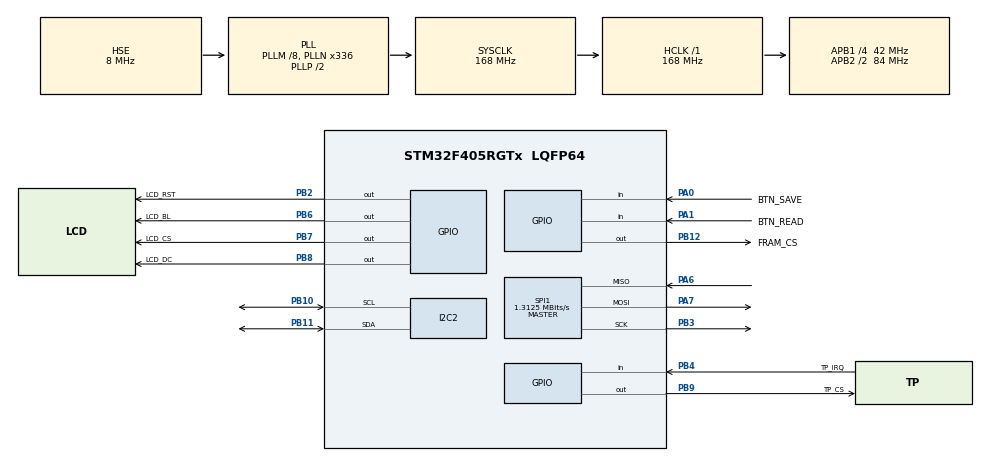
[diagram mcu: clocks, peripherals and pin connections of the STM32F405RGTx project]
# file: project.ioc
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ADC1.Channel-0\#ChannelRegularConversion=ADC_CHANNEL_TEMPSENSOR
ADC1.Channel-1\#ChannelRegularConversion=ADC_CHANNEL_VREFINT
ADC1.ContinuousConvMode=ENABLE
ADC1.NbrOfConversion=2
ADC1.NbrOfConversionFlag=1
ADC1.Rank-0\#ChannelRegularConversion=1
ADC1.Rank-1\#ChannelRegularConversion=2
ADC1.SamplingTime-0\#ChannelRegularConversion=ADC_SAMPLETIME_480CYCLES
ADC1.SamplingTime-1\#ChannelRegularConversion=ADC_SAMPLETIME_480CYCLES
ADC1.master=1
FREERTOS.Mutexes01=LcdMutex,Dynamic,NULL,Available
FREERTOS.Tasks01=defaultTask,0,1024,StartDefaultTask,Default,NULL,Dynamic,NULL,NULL;TouchTask,1,1024,StartTouchTask,Default,NULL,Dynamic,NULL,NULL
Mcu.Family=STM32F4
Mcu.Name=STM32F405RGTx
Mcu.Package=LQFP64
NVIC.PriorityGroup=NVIC_PRIORITYGROUP_4
PA0-WKUP.GPIO_Label=BTN_SAVE
PA0-WKUP.GPIO_PuPd=GPIO_PULLDOWN
PA0-WKUP.Signal=GPIO_Input
PA1.GPIO_Label=BTN_READ
PA1.GPIO_PuPd=GPIO_PULLDOWN
PA1.Signal=GPIO_Input
PA13.Mode=Serial_Wire
PA13.Signal=SYS_JTMS-SWDIO
PA14.Mode=Serial_Wire
PA14.Signal=SYS_JTCK-SWCLK
PA6.Mode=Full_Duplex_Master
PA6.Signal=SPI1_MISO
PA7.Mode=Full_Duplex_Master
PA7.Signal=SPI1_MOSI
PB10.Mode=I2C
PB10.Signal=I2C2_SCL
PB11.Mode=I2C
PB11.Signal=I2C2_SDA
PB12.GPIO_Label=FRAM_CS
PB12.Signal=GPIO_Output
PB2.GPIO_Label=LCD_RST
PB2.GPIO_Speed=GPIO_SPEED_FREQ_VERY_HIGH
PB2.Signal=GPIO_Output
PB3.Mode=Full_Duplex_Master
PB3.Signal=SPI1_SCK
PB4.GPIO_Label=TP_IRQ
PB4.GPIO_PuPd=GPIO_PULLUP
PB4.Signal=GPIO_Input
PB6.GPIO_Label=LCD_BL
PB6.GPIO_Speed=GPIO_SPEED_FREQ_VERY_HIGH
PB6.Signal=GPIO_Output
PB7.GPIO_Label=LCD_CS
PB7.GPIO_Speed=GPIO_SPEED_FREQ_VERY_HIGH
PB7.Signal=GPIO_Output
PB8.GPIO_Label=LCD_DC
PB8.GPIO_Speed=GPIO_SPEED_FREQ_VERY_HIGH
PB8.Signal=GPIO_Output
PB9.GPIO_Label=TP_CS
PB9.GPIO_Speed=GPIO_SPEED_FREQ_VERY_HIGH
PB9.Signal=GPIO_Output
PH0-OSC_IN.Mode=HSE-External-Oscillator
PH0-OSC_IN.Signal=RCC_OSC_IN
PH1-OSC_OUT.Mode=HSE-External-Oscillator
PH1-OSC_OUT.Signal=RCC_OSC_OUT
ProjectManager.HeapSize=0x200
ProjectManager.StackSize=0x400
ProjectManager.TargetToolchain=STM32CubeIDE
RCC.48MHZClocksFreq_Value=84000000
RCC.AHBFreq_Value=168000000
RCC.APB1CLKDivider=RCC_HCLK_DIV4
RCC.APB1Freq_Value=42000000
RCC.APB1TimFreq_Value=84000000
RCC.APB2CLKDivider=RCC_HCLK_DIV2
RCC.APB2Freq_Value=84000000
RCC.APB2TimFreq_Value=168000000
RCC.CortexFreq_Value=168000000
RCC.HCLKFreq_Value=168000000
RCC.HSE_VALUE=8000000
RCC.HSI_VALUE=16000000
RCC.LSE_VALUE=32768
RCC.PLLM=8
RCC.PLLN=336
RCC.PLLSourceVirtual=RCC_PLLSOURCE_HSE
RCC.SYSCLKFreq_VALUE=168000000
RCC.SYSCLKSource=RCC_SYSCLKSOURCE_PLLCLK
RCC.VCOOutputFreq_Value=336000000
RTC.Format=RTC_FORMAT_BIN
SPI1.BaudRatePrescaler=SPI_BAUDRATEPRESCALER_64
SPI1.CalculateBaudRate=1.3125 MBits/s
SPI1.Direction=SPI_DIRECTION_2LINES
SPI1.Mode=SPI_MODE_MASTER
SPI1.VirtualType=VM_MASTER
VP_ADC1_TempSens_Input.Mode=IN-TempSens
VP_ADC1_Vref_Input.Mode=IN-Vrefint
VP_FREERTOS_VS_CMSIS_V1.Mode=CMSIS_V1
VP_RTC_VS_RTC_Activate.Mode=RTC_Enabled
VP_RTC_VS_RTC_Calendar.Mode=RTC_Calendar
board=custom

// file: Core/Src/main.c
/* USER CODE BEGIN Header */
/**
  ******************************************************************************
  * @file           : main.c
  * @brief          : BẢN CODE CHỐNG BỊ CUBEMX XÓA - FULL CHỨC NĂNG
  ******************************************************************************
  */
/* USER CODE END Header */
#include "main.h"
#include "cmsis_os.h"

/* USER CODE BEGIN Includes */
#include "LCD_Driver.h"
#include "Touch_XPT2046.h"
#include <stdio.h>
/* USER CODE END Includes */

/* USER CODE BEGIN PTD */
#define FRAM_I2C_ADDR 0xA0
#define V25             0.76f       /* V — voltage at 25°C            */
#define AVG_SLOPE       0.0025f     /* V/°C — 2.5 mV/°C              */
#define VDDA            3.3f        /* V — điện áp tham chiếu ADC     */
#define ADC_RESOLUTION  4095.0f
void Draw_Play_Icon(uint16_t cx, uint16_t cy, uint8_t size, uint16_t color);
void Draw_Pause_Icon(uint16_t cx, uint16_t cy,
                     uint8_t bar_w, uint8_t bar_h, uint8_t gap,
                     uint16_t color);
typedef struct {
    float temp;
    uint8_t day;
    uint8_t month;
    uint8_t year;
    uint8_t hour;
    uint8_t min;
    uint8_t sec;
} DataLog_t;
/* USER CODE END PTD */

ADC_HandleTypeDef hadc1;

I2C_HandleTypeDef hi2c2;

RTC_HandleTypeDef hrtc;

SPI_HandleTypeDef hspi1;

osThreadId defaultTaskHandle;
osThreadId TouchTaskHandle;
osMutexId LcdMutexHandle;
/* USER CODE BEGIN PV */
float temperature = 0;
uint8_t flag_play = 0,flag_pause=0;
DataLog_t myData = {0};
RTC_TimeTypeDef sTime;
RTC_DateTypeDef sDate;
char msg[128];
HAL_StatusTypeDef status;
/* USER CODE END PV */

void SystemClock_Config(void);
static void MX_GPIO_Init(void);
static void MX_ADC1_Init(void);
static void MX_SPI1_Init(void);
static void MX_I2C2_Init(void);
static void MX_RTC_Init(void);
void StartDefaultTask(void const * argument);
void StartTouchTask(void const * argument);
void play_button(void);
void pause_button(void);
/* USER CODE BEGIN PFP */
float Read_Temperature(void);
void Draw_UI_Nhom07(void);
HAL_StatusTypeDef FRAM_Write(uint16_t addr, uint8_t *data, uint16_t len);
HAL_StatusTypeDef FRAM_Read(uint16_t addr, uint8_t *data, uint16_t len);
/* USER CODE END PFP */

int main(void)
{

  /* MCU Configuration--------------------------------------------------------*/

  /* Reset of all peripherals, Initializes the Flash interface and the Systick. */
  HAL_Init();

  /* Configure the system clock */
  SystemClock_Config();

  /* Initialize all configured peripherals */
  MX_GPIO_Init();
  MX_ADC1_Init();
  MX_SPI1_Init();
  MX_I2C2_Init();
  MX_RTC_Init();
  /* USER CODE BEGIN 2 */
  /* KHỞI ĐỘNG MÀN HÌNH SAU KHI INIT */
  HAL_GPIO_WritePin(GPIOB, LCD_BL_Pin, GPIO_PIN_SET);
  HAL_GPIO_WritePin(GPIOB, LCD_RST_Pin, GPIO_PIN_RESET);
  HAL_Delay(50);
  HAL_GPIO_WritePin(GPIOB, LCD_RST_Pin, GPIO_PIN_SET);
  HAL_Delay(50);
  HAL_GPIO_WritePin(GPIOB, LCD_CS_Pin, GPIO_PIN_SET);
  /* USER CODE END 2 */

  /* Create the mutex(es) */
  /* definition and creation of LcdMutex */
  osMutexDef(LcdMutex);
  LcdMutexHandle = osMutexCreate(osMutex(LcdMutex));

  /* Create the thread(s) */
  /* definition and creation of defaultTask */
  osThreadDef(defaultTask, StartDefaultTask, osPriorityNormal, 0, 512);
  defaultTaskHandle = osThreadCreate(osThread(defaultTask), NULL);

  /* definition and creation of TouchTask */
  osThreadDef(TouchTask, StartTouchTask, osPriorityAboveNormal, 0, 512);
  TouchTaskHandle = osThreadCreate(osThread(TouchTask), NULL);

  /* Start scheduler */
  osKernelStart();

  /* We should never get here as control is now taken by the scheduler */

  /* Infinite loop */
  while (1)
  {

  }
}

/* ========================================================================= */
/* LƯU Ý: Phần cấu hình CubeMX sinh ra được giữ nguyên.                      */
/* Mình chỉ sửa lại logic RTC và GPIO ngay bên trong các thẻ USER CODE       */
/* ========================================================================= */

void SystemClock_Config(void)
{
  // Code giữ nguyên như của CubeMX
  RCC_OscInitTypeDef RCC_OscInitStruct = {0};
  RCC_ClkInitTypeDef RCC_ClkInitStruct = {0};

  __HAL_RCC_PWR_CLK_ENABLE();
  __HAL_PWR_VOLTAGESCALING_CONFIG(PWR_REGULATOR_VOLTAGE_SCALE1);

  RCC_OscInitStruct.OscillatorType = RCC_OSCILLATORTYPE_LSI|RCC_OSCILLATORTYPE_HSE;
  RCC_OscInitStruct.HSEState = RCC_HSE_ON;
  RCC_OscInitStruct.LSIState = RCC_LSI_ON;
  RCC_OscInitStruct.PLL.PLLState = RCC_PLL_ON;
  RCC_OscInitStruct.PLL.PLLSource = RCC_PLLSOURCE_HSE;
  RCC_OscInitStruct.PLL.PLLM = 8;
  RCC_OscInitStruct.PLL.PLLN = 336;
  RCC_OscInitStruct.PLL.PLLP = RCC_PLLP_DIV2;
  RCC_OscInitStruct.PLL.PLLQ = 4;
  if (HAL_RCC_OscConfig(&RCC_OscInitStruct) != HAL_OK) { Error_Handler(); }

  RCC_ClkInitStruct.ClockType = RCC_CLOCKTYPE_HCLK|RCC_CLOCKTYPE_SYSCLK|RCC_CLOCKTYPE_PCLK1|RCC_CLOCKTYPE_PCLK2;
  RCC_ClkInitStruct.SYSCLKSource = RCC_SYSCLKSOURCE_PLLCLK;
  RCC_ClkInitStruct.AHBCLKDivider = RCC_SYSCLK_DIV1;
  RCC_ClkInitStruct.APB1CLKDivider = RCC_HCLK_DIV4;
  RCC_ClkInitStruct.APB2CLKDivider = RCC_HCLK_DIV2;

  if (HAL_RCC_ClockConfig(&RCC_ClkInitStruct, FLASH_LATENCY_5) != HAL_OK) { Error_Handler(); }
}

static void MX_ADC1_Init(void)
{
  ADC_ChannelConfTypeDef sConfig = {0};
  hadc1.Instance = ADC1;
  hadc1.Init.ClockPrescaler = ADC_CLOCK_SYNC_PCLK_DIV4;
  hadc1.Init.Resolution = ADC_RESOLUTION_12B;
  hadc1.Init.ScanConvMode = ENABLE;
  hadc1.Init.ContinuousConvMode = ENABLE;
  hadc1.Init.DiscontinuousConvMode = DISABLE;
  hadc1.Init.ExternalTrigConvEdge = ADC_EXTERNALTRIGCONVEDGE_NONE;
  hadc1.Init.ExternalTrigConv = ADC_SOFTWARE_START;
  hadc1.Init.DataAlign = ADC_DATAALIGN_RIGHT;
  hadc1.Init.NbrOfConversion = 2;
  hadc1.Init.DMAContinuousRequests = DISABLE;
  hadc1.Init.EOCSelection = ADC_EOC_SINGLE_CONV;
  if (HAL_ADC_Init(&hadc1) != HAL_OK) { Error_Handler(); }

  sConfig.Channel = ADC_CHANNEL_TEMPSENSOR;
  sConfig.Rank = 1;
  sConfig.SamplingTime = ADC_SAMPLETIME_480CYCLES;
  if (HAL_ADC_ConfigChannel(&hadc1, &sConfig) != HAL_OK) { Error_Handler(); }

  sConfig.Channel = ADC_CHANNEL_VREFINT;
  sConfig.Rank = 2;
  if (HAL_ADC_ConfigChannel(&hadc1, &sConfig) != HAL_OK) { Error_Handler(); }
}

static void MX_I2C2_Init(void)
{
  hi2c2.Instance = I2C2;
  hi2c2.Init.ClockSpeed = 100000;
  hi2c2.Init.DutyCycle = I2C_DUTYCYCLE_2;
  hi2c2.Init.OwnAddress1 = 0;
  hi2c2.Init.AddressingMode = I2C_ADDRESSINGMODE_7BIT;
  hi2c2.Init.DualAddressMode = I2C_DUALADDRESS_DISABLE;
  hi2c2.Init.OwnAddress2 = 0;
  hi2c2.Init.GeneralCallMode = I2C_GENERALCALL_DISABLE;
  hi2c2.Init.NoStretchMode = I2C_NOSTRETCH_DISABLE;
  if (HAL_I2C_Init(&hi2c2) != HAL_OK) { Error_Handler(); }
}

static void MX_RTC_Init(void)
{
  RTC_TimeTypeDef sTime = {0};
  RTC_DateTypeDef sDate = {0};

  hrtc.Instance = RTC;
  hrtc.Init.HourFormat = RTC_HOURFORMAT_24;
  hrtc.Init.AsynchPrediv = 127;
  hrtc.Init.SynchPrediv = 255;
  hrtc.Init.OutPut = RTC_OUTPUT_DISABLE;
  hrtc.Init.OutPutPolarity = RTC_OUTPUT_POLARITY_HIGH;
  hrtc.Init.OutPutType = RTC_OUTPUT_TYPE_OPENDRAIN;
  if (HAL_RTC_Init(&hrtc) != HAL_OK) { Error_Handler(); }

  /* USER CODE BEGIN Check_RTC_BKUP */
  if (HAL_RTCEx_BKUPRead(&hrtc, RTC_BKP_DR1) == 0x9999) {
      return;
  }
  /* USER CODE END Check_RTC_BKUP */

  sTime.Hours = 22;
  sTime.Minutes = 18;
  sTime.Seconds = 0;
  sTime.DayLightSaving = RTC_DAYLIGHTSAVING_NONE;
  sTime.StoreOperation = RTC_STOREOPERATION_RESET;
  if (HAL_RTC_SetTime(&hrtc, &sTime, RTC_FORMAT_BIN) != HAL_OK) { Error_Handler(); }

  sDate.WeekDay = RTC_WEEKDAY_WEDNESDAY;
  sDate.Month = RTC_MONTH_APRIL;
  sDate.Date = 28;
  sDate.Year = 26;
  if (HAL_RTC_SetDate(&hrtc, &sDate, RTC_FORMAT_BIN) != HAL_OK) { Error_Handler(); }

  /* USER CODE BEGIN RTC_Init 2 */
  // Lưu cờ đánh dấu đã khởi tạo
  HAL_RTCEx_BKUPWrite(&hrtc, RTC_BKP_DR1, 0x9999);
  /* USER CODE END RTC_Init 2 */
}

static void MX_SPI1_Init(void)
{
  hspi1.Instance = SPI1;
  hspi1.Init.Mode = SPI_MODE_MASTER;
  hspi1.Init.Direction = SPI_DIRECTION_2LINES;
  hspi1.Init.DataSize = SPI_DATASIZE_8BIT;
  hspi1.Init.CLKPolarity = SPI_POLARITY_LOW;
  hspi1.Init.CLKPhase = SPI_PHASE_1EDGE;
  hspi1.Init.NSS = SPI_NSS_SOFT;
  hspi1.Init.BaudRatePrescaler = SPI_BAUDRATEPRESCALER_64;
  hspi1.Init.FirstBit = SPI_FIRSTBIT_MSB;
  hspi1.Init.TIMode = SPI_TIMODE_DISABLE;
  hspi1.Init.CRCCalculation = SPI_CRCCALCULATION_DISABLE;
  hspi1.Init.CRCPolynomial = 10;
  if (HAL_SPI_Init(&hspi1) != HAL_OK) { Error_Handler(); }
}

static void MX_GPIO_Init(void)
{
  GPIO_InitTypeDef GPIO_InitStruct = {0};

  __HAL_RCC_GPIOH_CLK_ENABLE();
  __HAL_RCC_GPIOA_CLK_ENABLE();
  __HAL_RCC_GPIOB_CLK_ENABLE();

  HAL_GPIO_WritePin(GPIOA, BTN_SAVE_Pin|BTN_READ_Pin, GPIO_PIN_SET);
  HAL_GPIO_WritePin(GPIOB, LCD_RST_Pin|FRAM_CS_Pin|LCD_BL_Pin|LCD_CS_Pin|LCD_DC_Pin|TP_CS_Pin, GPIO_PIN_RESET);

  /* USER CODE BEGIN MX_GPIO_Init_1 */
  GPIO_InitStruct.Pin = BTN_SAVE_Pin;
  GPIO_InitStruct.Mode = GPIO_MODE_INPUT;
  GPIO_InitStruct.Pull = GPIO_PULLDOWN;
  HAL_GPIO_Init(GPIOA, &GPIO_InitStruct);

  GPIO_InitStruct.Pin = BTN_READ_Pin;
  GPIO_InitStruct.Mode = GPIO_MODE_INPUT;
  GPIO_InitStruct.Pull = GPIO_PULLUP;
  HAL_GPIO_Init(GPIOA, &GPIO_InitStruct);

  GPIO_InitStruct.Pin = LCD_RST_Pin|LCD_BL_Pin|LCD_CS_Pin|LCD_DC_Pin|TP_CS_Pin;
  GPIO_InitStruct.Mode = GPIO_MODE_OUTPUT_PP;
  GPIO_InitStruct.Pull = GPIO_NOPULL;
  GPIO_InitStruct.Speed = GPIO_SPEED_FREQ_VERY_HIGH;
  HAL_GPIO_Init(GPIOB, &GPIO_InitStruct);

  GPIO_InitStruct.Pin = FRAM_CS_Pin;
  GPIO_InitStruct.Mode = GPIO_MODE_OUTPUT_PP;
  GPIO_InitStruct.Pull = GPIO_NOPULL;
  GPIO_InitStruct.Speed = GPIO_SPEED_FREQ_LOW;
  HAL_GPIO_Init(FRAM_CS_GPIO_Port, &GPIO_InitStruct);
  GPIO_InitStruct.Pin = TP_IRQ_Pin;
  GPIO_InitStruct.Mode = GPIO_MODE_INPUT;
  GPIO_InitStruct.Pull = GPIO_PULLUP;
  HAL_GPIO_Init(TP_IRQ_GPIO_Port, &GPIO_InitStruct);
}

/* USER CODE BEGIN 4 */
HAL_StatusTypeDef FRAM_Write(uint16_t addr, uint8_t *data, uint16_t len) {
    HAL_StatusTypeDef st = HAL_I2C_Mem_Write(&hi2c2, FRAM_I2C_ADDR, addr, I2C_MEMADD_SIZE_8BIT, data, len, 500);
    HAL_Delay(5);
    return st;
}

HAL_StatusTypeDef FRAM_Read(uint16_t addr, uint8_t *data, uint16_t len) {
    return HAL_I2C_Mem_Read(&hi2c2, FRAM_I2C_ADDR, addr, I2C_MEMADD_SIZE_8BIT, data, len, 500);
}

void Draw_UI_Nhom07(void)
{
    lcd_clear_screen(0x0292);
    lcd_fill_rect(10, 10, 120, 35, WHITE);
    lcd_display_string(15, 20, (uint8_t*)"[Nhom 07]", FONT_1608, 0x0292);
    lcd_fill_rect(10, 55, 220, 35, WHITE);
    lcd_display_string(15, 65, (uint8_t*)"Internal Temp: ", FONT_1206, 0x0292);
    lcd_fill_rect(10, 100, 220, 85, WHITE);
    Draw_Play_Icon(83, 142, 22, BLACK);
    Draw_Pause_Icon(157, 142, 10, 38, 10, BLACK);
    lcd_display_string(50, 165, (uint8_t*)"(WAKE-SAVE)", FONT_1206, 0x0292);
    lcd_display_string(150, 165, (uint8_t*)"(USER-READ)", FONT_1206, 0x0292);
    lcd_fill_rect(10, 195, 220, 110, WHITE);
    lcd_display_string(15, 200, (uint8_t*)"Data Log View:", FONT_1206, 0x0292);
}
void Draw_Pause_Icon(uint16_t cx, uint16_t cy,
                     uint8_t bar_w, uint8_t bar_h, uint8_t gap,
                     uint16_t color)
{
    lcd_fill_rect(cx - gap/2 - bar_w,  cy - bar_h/2,  bar_w, bar_h, color);

    lcd_fill_rect(cx + gap/2,           cy - bar_h/2,  bar_w, bar_h, color);
}
void Draw_Play_Icon(uint16_t cx, uint16_t cy, uint8_t size, uint16_t color)
{
    for (int8_t dy = -size; dy <= size; dy++)
    {
        uint16_t w = (uint16_t)(size - (dy < 0 ? -dy : dy));
        if (w == 0) continue;
        lcd_fill_rect(cx - size, cy + dy, w, 1, color);
    }
}
float Read_Temperature(void)
{

	ADC->CCR |= ADC_CCR_TSVREFE;

		    HAL_ADC_Start(&hadc1);

		    if (HAL_ADC_PollForConversion(&hadc1, 10) != HAL_OK)
		    {
		        HAL_ADC_Stop(&hadc1);
		        return -999.0f;
		    }
		    uint32_t adc_raw = HAL_ADC_GetValue(&hadc1);
		    HAL_ADC_Stop(&hadc1);

		    float v_sense = ((float)adc_raw / ADC_RESOLUTION) * VDDA;

		    /* 6. Áp dụng công thức datasheet Section 5.3.21:
		          Temp = (V_SENSE - V25) / Avg_Slope + 25             */
		    float temperature = ((v_sense - V25) / AVG_SLOPE) + 25.0f;

		    return temperature;

}
void StartDefaultTask(void const * argument)
{
  /* USER CODE BEGIN 5 */
  char buf[32];
  if (osMutexWait(LcdMutexHandle, osWaitForever) == osOK) {
      HAL_GPIO_WritePin(GPIOB, LCD_CS_Pin, GPIO_PIN_RESET);
      lcd_init();
      Draw_UI_Nhom07();
      HAL_GPIO_WritePin(GPIOB, LCD_CS_Pin, GPIO_PIN_SET);
      osMutexRelease(LcdMutexHandle);
  }

  for(;;)
  {
    temperature = Read_Temperature();
    if (osMutexWait(LcdMutexHandle, osWaitForever) == osOK)
    {
        HAL_GPIO_WritePin(GPIOB, LCD_CS_Pin, GPIO_PIN_RESET);
        lcd_fill_rect(160, 60, 70, 25, WHITE);

        int t_int = (int)temperature;
        int t_frac = (int)((temperature - t_int) * 10.0f);
        if(t_frac < 0) t_frac = -t_frac;
        sprintf(buf, "%d.%d C", t_int, t_frac);

        lcd_display_string(160, 65, (uint8_t*)buf, FONT_1206, 0x0292);
        HAL_GPIO_WritePin(GPIOB, LCD_CS_Pin, GPIO_PIN_SET);
        osMutexRelease(LcdMutexHandle);
    }
    osDelay(500);
  }

}
void pause_button()
{
	 	 	HAL_RTC_GetTime(&hrtc, &sTime, RTC_FORMAT_BIN);
	        HAL_RTC_GetDate(&hrtc, &sDate, RTC_FORMAT_BIN);
	        myData.temp  = temperature;
	        myData.day   = sDate.Date;
	        myData.month = sDate.Month;
	        myData.year  = sDate.Year;
	        myData.hour  = sTime.Hours;
	        myData.min   = sTime.Minutes;
	        myData.sec   = sTime.Seconds;

	        status = FRAM_Write(0x0000, (uint8_t*)&myData, sizeof(myData));

	        if (osMutexWait(LcdMutexHandle, osWaitForever) == osOK)
	        {
	            HAL_GPIO_WritePin(GPIOB, LCD_CS_Pin, GPIO_PIN_RESET);
	            lcd_fill_rect(10, 210, 220, 80, WHITE);
	            if(status == HAL_OK)
	                lcd_display_string(15, 220, (uint8_t*)"SAVE: Fram Stored OK!", FONT_1206, 0x07E0);
	            else
	                lcd_display_string(15, 220, (uint8_t*)"SAVE FAIL: I2C ERROR", FONT_1206, 0xF800);

	            HAL_GPIO_WritePin(GPIOB, LCD_CS_Pin, GPIO_PIN_SET);
	            osMutexRelease(LcdMutexHandle);
	        }
	        flag_pause = 0;
}
void play_button()
{
	status = FRAM_Read(0x0000, (uint8_t*)&myData, sizeof(myData));

	        if (osMutexWait(LcdMutexHandle, osWaitForever) == osOK)
	        {
	            HAL_GPIO_WritePin(GPIOB, LCD_CS_Pin, GPIO_PIN_RESET);
	            lcd_fill_rect(10, 210, 220, 80, WHITE);
	            if(status == HAL_OK) {
	                int t_int = (int)myData.temp;
	                int t_frac = (int)((myData.temp - t_int) * 10.0f);
	                if(t_frac < 0) t_frac = -t_frac;
	                sprintf(msg, "%02d/%02d/%02d", myData.day, myData.month, myData.year);
	                lcd_display_string(15, 220, (uint8_t*)msg, FONT_1206, 0x0292);

	                sprintf(msg, "%02d:%02d:%02d - %d.%d C", myData.hour, myData.min, myData.sec, t_int, t_frac);
	                lcd_display_string(15, 245, (uint8_t*)msg, FONT_1206, 0x0292);
	            } else {
	                lcd_display_string(15, 220, (uint8_t*)"READ FAIL: I2C ERROR", FONT_1206, 0xF800);
	            }
	            HAL_GPIO_WritePin(GPIOB, LCD_CS_Pin, GPIO_PIN_SET);
	            osMutexRelease(LcdMutexHandle);
	        }
	        flag_play = 0;
}
void StartTouchTask(void const * argument)
{
	 TouchPoint_t tp;
	 char touch_buf[32];
  /* USER CODE BEGIN StartTouchTask */
  for(;;)
  {
    if (Touch_IsPressed())
           {
               if (osMutexWait(LcdMutexHandle, 100) == osOK)
               {
                   HAL_GPIO_WritePin(GPIOB, LCD_CS_Pin, GPIO_PIN_SET);
                   Touch_GetAveragedPoint(&tp);

                   HAL_GPIO_WritePin(GPIOB, LCD_CS_Pin, GPIO_PIN_RESET);

                   if (tp.valid)
                   {
                       if ((tp.x>=70)&&(tp.x<=90)&&(tp.y>=70)&&((tp.y<=95)))
                       {
                    	   flag_play  =  1;
                       }
                       if ((tp.x>=20)&&(tp.x<=45)&&(tp.y>=70)&&((tp.y<=95)))
                       {
                    	   flag_pause = 1;
                       }
                   }
                   HAL_GPIO_WritePin(GPIOB, LCD_CS_Pin, GPIO_PIN_SET);
                   osMutexRelease(LcdMutexHandle);
               }
           }
    if (flag_play) play_button();
    if (flag_pause) pause_button();
    osDelay(50);
  }
}

void Error_Handler(void) { __disable_irq(); while (1) {} }
